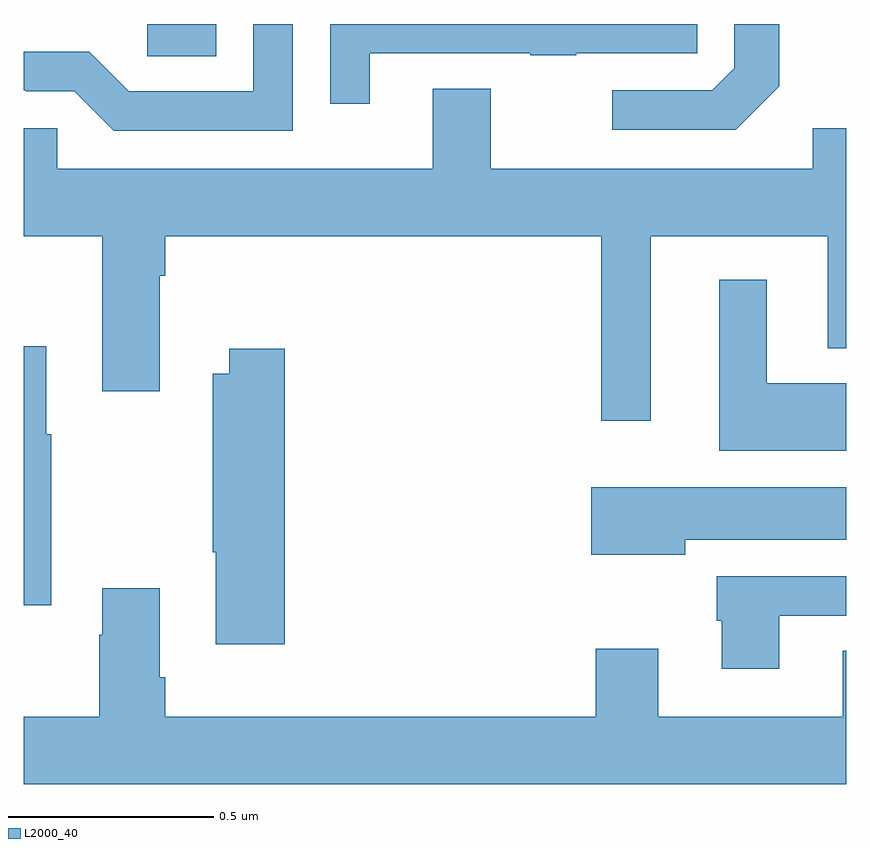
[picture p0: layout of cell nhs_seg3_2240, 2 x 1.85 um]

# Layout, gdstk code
import gdstk
lib = gdstk.Library(unit=1e-6, precision=1e-09)
def R(c, l, rs):  # rectangles x0, y0, x1, y1
    for r in rs: c.add(gdstk.rectangle(r[:2], r[2:], *l))
def P(c, l, *ps):  # polygons
    for p in ps: c.add(gdstk.Polygon(p, *l))
L2000_40 = (2000, 40)

nhs_seg3_2240 = lib.new_cell('nhs_seg3_2240')
R(nhs_seg3_2240, L2000_40, [(138.3,733.321,138.468,733.4)])
P(nhs_seg3_2240, L2000_40, [(138.654,733.4),(138.558,733.4),(138.558,733.236),(138.255,733.236),(138.159,733.332),(138,733.332),(138,733.239),(138.005,733.239),(138.005,733.236),(138.123,733.236),(138.219,733.14),(138.654,733.14)],
  [(138.841,733.329),(139.231,733.329),(139.231,733.324),(139.343,733.324),(139.343,733.329),(139.638,733.329),(139.638,733.4),(138.745,733.4),(138.745,733.206),(138.841,733.206)],
  [(139.837,733.249),(139.837,733.4),(139.728,733.4),(139.728,733.293),(139.674,733.239),(139.431,733.239),(139.431,733.143),(139.731,733.143)],
  [(139.525,732.884),(139.955,732.884),(139.955,732.611),(140,732.611),(140,733.147),(139.919,733.147),(139.919,733.048),(139.135,733.048),(139.135,733.243),(138.995,733.243),(138.995,733.048),(138.081,733.048),(138.081,733.146),(138,733.146),(138,732.884),(138.191,732.884),(138.191,732.507),(138.331,732.507),(138.331,732.788),(138.344,732.788),(138.344,732.884),(139.404,732.884),(139.404,732.435),(139.525,732.435)],
  [(140,732.526),(139.807,732.526),(139.807,732.778),(139.691,732.778),(139.691,732.362),(140,732.362)],
  [(138.067,732.403),(138.055,732.403),(138.055,732.616),(138,732.616),(138,731.987),(138.067,731.987)],
  [(138.635,732.61),(138.5,732.61),(138.5,732.55),(138.46,732.55),(138.46,732.115),(138.467,732.115),(138.467,731.892),(138.635,731.892)],
  [(139.609,732.146),(140,732.146),(140,732.274),(139.38,732.274),(139.38,732.11),(139.609,732.11)],
  [(139.837,731.961),(140,731.961),(140,732.057),(139.685,732.057),(139.685,731.949),(139.697,731.949),(139.697,731.832),(139.837,731.832)],
  [(140,731.876),(139.991,731.876),(139.991,731.716),(139.543,731.716),(139.543,731.881),(139.391,731.881),(139.391,731.716),(138.344,731.716),(138.344,731.812),(138.331,731.812),(138.331,732.028),(138.191,732.028),(138.191,731.915),(138.184,731.915),(138.184,731.716),(138,731.716),(138,731.552),(140,731.552)])

lib.write_gds('nhs_seg3_2240.gds')
